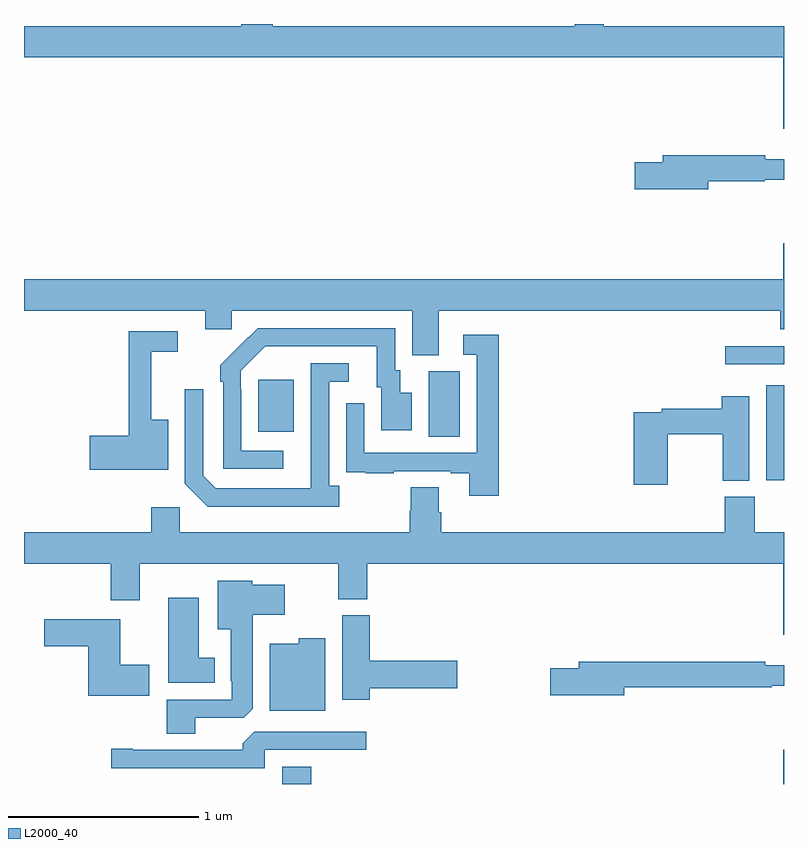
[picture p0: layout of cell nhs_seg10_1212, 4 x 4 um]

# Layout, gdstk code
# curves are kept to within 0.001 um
import gdstk
lib = gdstk.Library(unit=1e-6, precision=1e-09)
def R(c, l, rs):  # rectangles x0, y0, x1, y1
    for r in rs: c.add(gdstk.rectangle(r[:2], r[2:], *l))
def P(c, l, *ps):  # polygons
    for p in ps: c.add(gdstk.Polygon(p, *l))
L2000_40 = (2000, 40)

nhs_seg10_1212 = lib.new_cell('nhs_seg10_1212')
R(nhs_seg10_1212, L2000_40, [(174.359,1288.5,174.512,1288.591), (176.996,1288.5,177,1288.681), (176.906,1290.099,177,1290.598), (175.13,1290.328,175.294,1290.672), (174.233,1290.353,174.421,1290.628), (176.691,1290.708,177,1290.804)])
P(nhs_seg10_1212, L2000_40, [(177,1292.488),(176.05,1292.488),(176.05,1292.5),(175.898,1292.5),(175.898,1292.488),(174.308,1292.488),(174.308,1292.5),(174.143,1292.5),(174.143,1292.488),(173,1292.488),(173,1292.324),(176.996,1292.324),(176.996,1291.95),(177,1291.95)],
  [(176.602,1291.672),(176.898,1291.672),(176.898,1291.68),(177,1291.68),(177,1291.789),(176.9,1291.789),(176.9,1291.808),(176.363,1291.808),(176.363,1291.772),(176.214,1291.772),(176.214,1291.63),(176.602,1291.63)],
  [(175.183,1290.992),(176.981,1290.992),(176.981,1290.893),(177,1290.893),(177,1291.345),(176.996,1291.345),(176.996,1291.156),(173,1291.156),(173,1290.992),(173.954,1290.992),(173.954,1290.894),(174.093,1290.894),(174.093,1290.992),(175.043,1290.992),(175.043,1290.757),(175.183,1290.757)],
  [(174.364,1290.255),(174.144,1290.255),(174.144,1290.575),(174.141,1290.575),(174.141,1290.675),(174.27,1290.804),(174.857,1290.804),(174.857,1290.588),(174.881,1290.588),(174.881,1290.363),(175.042,1290.363),(175.042,1290.559),(174.979,1290.559),(174.979,1290.678),(174.954,1290.678),(174.954,1290.9),(174.23,1290.9),(174.033,1290.705),(174.033,1290.617),(174.048,1290.617),(174.048,1290.159),(174.364,1290.159)],
  [(173.758,1290.418),(173.669,1290.418),(173.669,1290.774),(173.809,1290.774),(173.809,1290.882),(173.551,1290.882),(173.551,1290.332),(173.346,1290.332),(173.346,1290.154),(173.758,1290.154)],
  [(175.499,1290.865),(175.311,1290.865),(175.311,1290.759),(175.383,1290.759),(175.383,1290.243),(174.792,1290.243),(174.792,1290.505),(174.696,1290.505),(174.696,1290.25),(174.697,1290.25),(174.697,1290.141),(174.799,1290.141),(174.799,1290.135),(174.947,1290.135),(174.947,1290.147),(175.247,1290.147),(175.247,1290.135),(175.343,1290.135),(175.343,1290.018),(175.499,1290.018)],
  [(174.658,1290.07),(174.606,1290.07),(174.606,1290.618),(174.709,1290.618),(174.709,1290.714),(174.51,1290.714),(174.509,1290.057),(174.009,1290.057),(173.943,1290.123),(173.943,1290.577),(173.847,1290.577),(173.847,1290.081),(173.968,1289.96),(174.658,1289.96)],
  [(176.388,1290.34),(176.677,1290.34),(176.677,1290.097),(176.818,1290.097),(176.818,1290.541),(176.672,1290.541),(176.672,1290.476),(176.356,1290.476),(176.356,1290.456),(176.21,1290.456),(176.21,1290.075),(176.388,1290.075)],
  [(177,1289.824),(176.847,1289.824),(176.847,1290.012),(176.687,1290.012),(176.687,1289.824),(175.196,1289.824),(175.196,1289.93),(175.183,1289.93),(175.183,1290.062),(175.036,1290.062),(175.036,1289.937),(175.031,1289.937),(175.031,1289.824),(173.82,1289.824),(173.82,1289.956),(173.669,1289.956),(173.669,1289.824),(173,1289.824),(173,1289.66),(173.456,1289.66),(173.456,1289.466),(173.608,1289.466),(173.608,1289.66),(174.653,1289.66),(174.653,1289.473),(174.806,1289.473),(174.806,1289.66),(176.996,1289.66),(176.996,1289.286),(177,1289.286)],
  [(173.902,1288.848),(174.156,1288.848),(174.205,1288.897),(174.205,1289.39),(174.373,1289.39),(174.373,1289.548),(174.201,1289.548),(174.201,1289.569),(174.02,1289.569),(174.02,1289.315),(174.089,1289.315),(174.089,1289.041),(174.093,1289.041),(174.093,1288.944),(173.75,1288.944),(173.75,1288.765),(173.902,1288.765)],
  [(174.004,1289.164),(173.92,1289.164),(173.92,1289.479),(173.759,1289.479),(173.759,1289.033),(174.004,1289.033)],
  [(174.821,1289.003),(175.279,1289.003),(175.279,1289.15),(174.821,1289.15),(174.821,1289.388),(174.674,1289.388),(174.674,1288.944),(174.821,1288.944)],
  [(173.659,1289.127),(173.506,1289.127),(173.506,1289.367),(173.106,1289.367),(173.106,1289.225),(173.339,1289.225),(173.339,1288.964),(173.659,1288.964)],
  [(174.586,1289.266),(174.447,1289.266),(174.447,1289.239),(174.293,1289.239),(174.293,1288.886),(174.586,1288.886)],
  [(176.158,1289.008),(176.936,1289.008),(176.936,1289.016),(177,1289.016),(177,1289.125),(176.9,1289.125),(176.9,1289.144),(175.919,1289.144),(175.919,1289.108),(175.77,1289.108),(175.77,1288.966),(176.158,1288.966)],
  [(174.267,1288.68),(174.802,1288.68),(174.802,1288.776),(174.213,1288.776),(174.152,1288.714),(174.152,1288.68),(173.572,1288.68),(173.572,1288.685),(173.46,1288.685),(173.46,1288.584),(174.267,1288.584)])

lib.write_gds('nhs_seg10_1212.gds')
